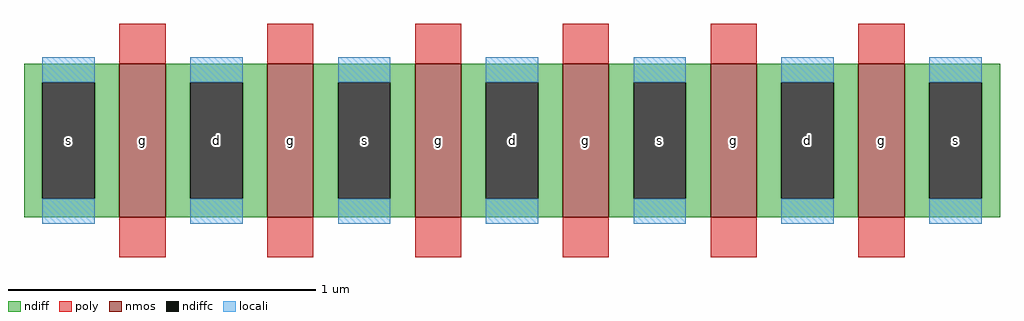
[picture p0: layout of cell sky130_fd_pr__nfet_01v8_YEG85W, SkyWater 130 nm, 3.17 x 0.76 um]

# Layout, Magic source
magic
tech sky130A
magscale 1 2
<< nmos >>
rect -255 -50 -225 50
rect -159 -50 -129 50
rect -63 -50 -33 50
rect 33 -50 63 50
rect 129 -50 159 50
rect 225 -50 255 50
<< ndiff >>
rect -317 38 -255 50
rect -317 -38 -305 38
rect -271 -38 -255 38
rect -317 -50 -255 -38
rect -225 38 -159 50
rect -225 -38 -209 38
rect -175 -38 -159 38
rect -225 -50 -159 -38
rect -129 38 -63 50
rect -129 -38 -113 38
rect -79 -38 -63 38
rect -129 -50 -63 -38
rect -33 38 33 50
rect -33 -38 -17 38
rect 17 -38 33 38
rect -33 -50 33 -38
rect 63 38 129 50
rect 63 -38 79 38
rect 113 -38 129 38
rect 63 -50 129 -38
rect 159 38 225 50
rect 159 -38 175 38
rect 209 -38 225 38
rect 159 -50 225 -38
rect 255 38 317 50
rect 255 -38 271 38
rect 305 -38 317 38
rect 255 -50 317 -38
<< ndiffc >>
rect -305 -38 -271 38
rect -209 -38 -175 38
rect -113 -38 -79 38
rect -17 -38 17 38
rect 79 -38 113 38
rect 175 -38 209 38
rect 271 -38 305 38
<< poly >>
rect -255 50 -225 76
rect -159 50 -129 76
rect -63 50 -33 76
rect 33 50 63 76
rect 129 50 159 76
rect 225 50 255 76
rect -255 -76 -225 -50
rect -159 -76 -129 -50
rect -63 -76 -33 -50
rect 33 -76 63 -50
rect 129 -76 159 -50
rect 225 -76 255 -50
<< locali >>
rect -305 38 -271 54
rect -305 -54 -271 -38
rect -209 38 -175 54
rect -209 -54 -175 -38
rect -113 38 -79 54
rect -113 -54 -79 -38
rect -17 38 17 54
rect -17 -54 17 -38
rect 79 38 113 54
rect 79 -54 113 -38
rect 175 38 209 54
rect 175 -54 209 -38
rect 271 38 305 54
rect 271 -54 305 -38
<< labels >>
flabel locali -288 0 -288 0 0 FreeSans 80 0 0 0 s
flabel poly -255 -50 -225 50 0 FreeSans 80 0 0 0 g
flabel locali -192 0 -192 0 0 FreeSans 80 0 0 0 d
flabel poly -159 -50 -129 50 0 FreeSans 80 0 0 0 g
flabel locali -96 0 -96 0 0 FreeSans 80 0 0 0 s
flabel poly -63 -50 -33 50 0 FreeSans 80 0 0 0 g
flabel locali 0 0 0 0 0 FreeSans 80 0 0 0 d
flabel poly 33 -50 63 50 0 FreeSans 80 0 0 0 g
flabel locali 96 0 96 0 0 FreeSans 80 0 0 0 s
flabel poly 129 -50 159 50 0 FreeSans 80 0 0 0 g
flabel locali 288 0 288 0 0 FreeSans 80 0 0 0 s
flabel locali 192 0 192 0 0 FreeSans 80 0 0 0 d
flabel poly 225 -50 255 50 0 FreeSans 80 0 0 0 g
<< properties >>
string gencell sky130_fd_pr__nfet_01v8
string library sky130
string parameters w .5 l 0.150 m 1 nf 6 diffcov 100 polycov 100 guard 0 glc 0 grc 0 gtc 0 gbc 0 tbcov 100 rlcov 100 topc 0 botc 0 poverlap 0 doverlap 1 lmin 0.15 wmin 0.42 compatible {sky130_fd_pr__nfet_01v8 sky130_fd_pr__nfet_01v8_lvt  sky130_fd_bs_flash__special_sonosfet_star  sky130_fd_pr__nfet_g5v0d10v5 sky130_fd_pr__nfet_05v0_nvt  sky130_fd_pr__nfet_03v3_nvt} full_metal 0 viasrc 100 viadrn 100 viagate 100 viagb 0 viagr 0 viagl 0 viagt 0
<< end >>
